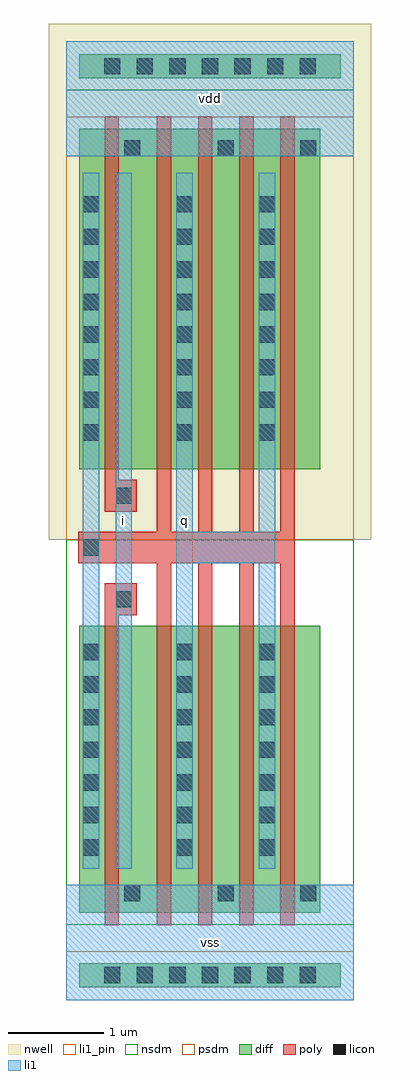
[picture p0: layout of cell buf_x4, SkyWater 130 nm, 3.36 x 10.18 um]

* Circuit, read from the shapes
.subckt buf_x4 i q vdd vss
XM1 vss i n1 VSUBS sky130_fd_pr__nfet_01v8 w=2.995 l=0.15
XM2 q n1 vss VSUBS sky130_fd_pr__nfet_01v8 w=2.995 l=0.15 m=4
XM3 vdd i n1 n2 sky130_fd_pr__pfet_01v8 w=3.555 l=0.15
XM4 q n1 vdd n2 sky130_fd_pr__pfet_01v8 w=3.555 l=0.15 m=4
.ends

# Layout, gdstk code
import gdstk
lib = gdstk.Library(unit=1e-6, precision=1e-09)
def R(c, l, rs):  # rectangles x0, y0, x1, y1
    for r in rs: c.add(gdstk.rectangle(r[:2], r[2:], *l))
def A(c, l, x, y, w, h, nx, ny, dx, dy):  # array of equal rectangles
    R(c, l, [(x+i*dx, y+j*dy, x+i*dx+w, y+j*dy+h) for i in range(nx) for j in range(ny)])
def P(c, l, *ps):  # polygons
    for p in ps: c.add(gdstk.Polygon(p, *l))
nwell = (64, 20)
diff = (65, 20)
poly = (66, 20)
licon = (66, 44)
li1_pin = (67, 16)
li1 = (67, 20)
nsdm = (93, 44)
psdm = (94, 20)

buf_x4 = lib.new_cell('buf_x4')
R(buf_x4, nwell, [(-0.18,4.8,3.18,10.18)])
R(buf_x4, diff, [(0.135,0.135,2.865,0.385), (0.135,0.91,2.65,3.905), (0.135,5.535,2.65,9.09), (0.135,9.615,2.865,9.865)])
P(buf_x4, poly, [(0.945,0.78),(0.945,4.555),(0.125,4.555),(0.125,4.885),(0.945,4.885),(0.945,9.22),(1.095,9.22),(1.095,4.885),(1.375,4.885),(1.375,9.22),(1.525,9.22),(1.525,4.885),(1.805,4.885),(1.805,9.22),(1.955,9.22),(1.955,4.885),(2.235,4.885),(2.235,9.22),(2.385,9.22),(2.385,0.78),(2.235,0.78),(2.235,4.555),(1.955,4.555),(1.955,0.78),(1.805,0.78),(1.805,4.555),(1.525,4.555),(1.525,0.78),(1.375,0.78),(1.375,4.555),(1.095,4.555),(1.095,0.78)],
  [(0.4,0.78),(0.4,4.345),(0.735,4.345),(0.735,4.015),(0.55,4.015),(0.55,0.78)],
  [(0.4,5.095),(0.4,9.22),(0.55,9.22),(0.55,5.425),(0.735,5.425),(0.735,5.095)])
A(buf_x4, licon, 0.395, 0.175, 0.17, 0.17, 7, 2, 0.34, 9.48)
A(buf_x4, licon, 0.175, 1.505, 0.17, 0.17, 1, 7, 0, 0.34)
A(buf_x4, licon, 1.15, 1.505, 0.17, 0.17, 1, 7, 0, 0.34)
A(buf_x4, licon, 2.01, 1.505, 0.17, 0.17, 1, 7, 0, 0.34)
A(buf_x4, licon, 0.175, 5.835, 0.17, 0.17, 1, 8, 0, 0.34)
A(buf_x4, licon, 1.15, 5.835, 0.17, 0.17, 1, 8, 0, 0.34)
A(buf_x4, licon, 2.01, 5.835, 0.17, 0.17, 1, 8, 0, 0.34)
R(buf_x4, licon, [(0.605,1.03,0.775,1.2), (1.58,1.03,1.75,1.2), (2.44,1.03,2.61,1.2), (0.515,4.095,0.685,4.265), (0.175,4.635,0.345,4.805), (0.515,5.175,0.685,5.345), (0.605,8.8,0.775,8.97), (1.58,8.8,1.75,8.97), (2.44,8.8,2.61,8.97)])
R(buf_x4, li1_pin, [(0,0,3,1.2), (0.515,1.37,0.685,8.63), (1.15,1.37,1.32,8.63), (0,8.8,3,10)])
R(buf_x4, li1, [(0,0,3,1.2), (0.175,1.37,0.345,8.63), (0.515,1.37,0.685,8.63), (0,8.8,3,10)])
P(buf_x4, li1, [(1.15,1.37),(1.15,8.63),(1.32,8.63),(1.32,4.885),(2.01,4.885),(2.01,8.63),(2.18,8.63),(2.18,1.37),(2.01,1.37),(2.01,4.555),(1.32,4.555),(1.32,1.37)])
R(buf_x4, nsdm, [(0,0.785,3,4.8), (0,9.49,3,10)])
R(buf_x4, psdm, [(0,0,3,0.51), (0,4.8,3,9.215)])
buf_x4.add(gdstk.Label('vdd', (1.5,9.4), layer=67, texttype=16))
buf_x4.add(gdstk.Label('vss', (1.5,0.6), layer=67, texttype=16))
buf_x4.add(gdstk.Label('i', (0.6,5), layer=67, texttype=16))
buf_x4.add(gdstk.Label('q', (1.235,5), layer=67, texttype=16))

lib.write_gds('buf_x4.gds')
